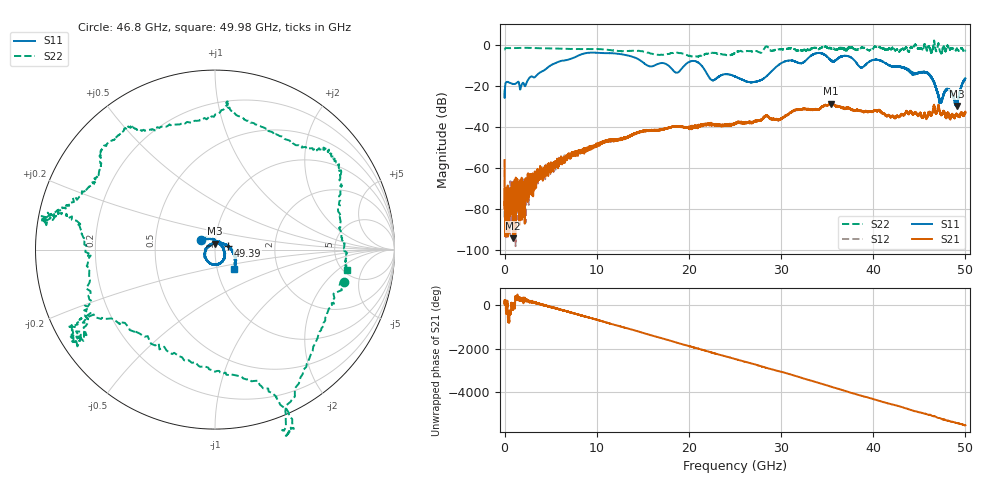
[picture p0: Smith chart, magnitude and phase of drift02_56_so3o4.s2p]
!Created with skrf (http://scikit-rf.org).
# Hz S RI R 50.0
!freq ReS11 ImS11 ReS21 ImS21 ReS12 ImS12 ReS22 ImS22
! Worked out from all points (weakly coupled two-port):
!   10001 points, 300 kHz to 50 GHz, reference 50 ohm
!   highest |S21| = -28.46 dB at 35.38 GHz (marker M1); lowest = -94.1 dB at 920.3 MHz (marker M2)
!   lowest |S11| = -29.7 dB at 49.06 GHz (marker M3), VSWR 1.07, Z = 49.8 + j3.27 ohm
!   |S11| at or under -10 dB: start of sweep to 4.956 GHz; 21.38 GHz to 29.62 GHz (8.239 GHz wide, 32.3 % of centre); 41.82 GHz to end of sweep (the widest 3 of 8)
!   |S22| runs from -5.7 to 2.3 dB; largest |S21 - S12| = 0.0031
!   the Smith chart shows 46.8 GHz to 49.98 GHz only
!   S11 on the Smith chart (normalised r, x): 46.8 GHz: 0.85, +0.09; 49.39 GHz: 1.15, +0.05; 49.98 GHz: 1.20, -0.27
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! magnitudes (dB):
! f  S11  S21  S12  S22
! 300 kHz  -22.1  -56.1  -55.7  -2.1
! 255.3 MHz  -17.9  -72.4  -81.7  -1.4
! 920.3 MHz  -18.9  -94.1  -70.8  -1.5
! 8.335 GHz  -4.5  -51.3  -51.6  -1.9
! 16.67 GHz  -9.1  -41.8  -41.5  -4.7
! 18.7 GHz  -13.5  -39.6  -39.6  -3.7
! 20.6 GHz  -7.7  -39.9  -40.0  -5.7
! 22.51 GHz  -17.1  -39.2  -38.9  -3.7
! 25 GHz  -15.3  -38.2  -38.1  -3.9
! 27.47 GHz  -17.6  -37.0  -36.5  -3.2
! 30.22 GHz  -8.3  -35.5  -35.1  -2.0
! 33.34 GHz  -4.9  -31.3  -31.3  -1.6
! 35.38 GHz  -7.3  -28.5  -28.7  -1.4
! 41.67 GHz  -9.7  -34.2  -34.3  -1.9
! 45.83 GHz  -13.5  -35.5  -35.6  -2.5
! 46.8 GHz  -20.5  -33.5  -33.1  -2.6
! 47.27 GHz  -26.7  -32.9  -32.9  -3.3
! 48.14 GHz  -21.6  -33.3  -33.1  -0.8
! 49.06 GHz  -29.7  -34.3  -33.7  -1.7
! 49.39 GHz  -22.5  -34.3  -34.3  -2.5
! 49.98 GHz  -16.4  -33.3  -32.9  -2.6
! 50 GHz  -16.2  -32.9  -32.8  -2.7
